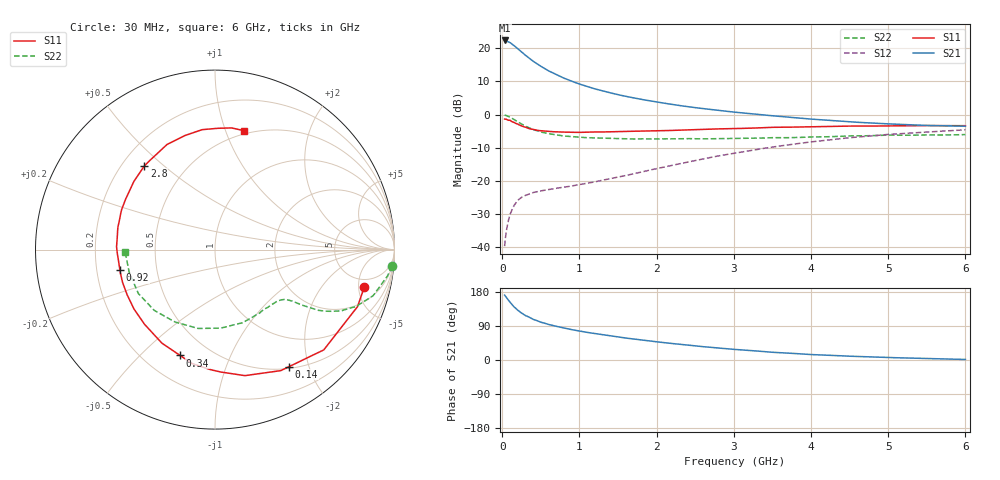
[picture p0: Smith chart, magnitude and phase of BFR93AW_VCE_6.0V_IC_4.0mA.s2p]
! Infineon Technologies  Discrete & RF Semiconductors
! BFR93AW
! VCE =  6.0 V,  IC =  4.0 mA
! Common Emitter S-Parameters:  Nov 2015
# GHz  S  MA  R  50
!  f  S11  S21  S12  S22
! GHz  MAG  ANG  MAG  ANG  MAG  ANG  MAG  ANG
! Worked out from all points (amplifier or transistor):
!   206 points, 30 MHz to 6 GHz, reference 50 ohm
!   highest |S21| = 22.4 dB at 30 MHz (marker M1)
!   |S21| within 3 dB of that: start of sweep to 225.9 MHz
!   unconditionally stable (mu >= 1): 1.012 GHz to 2.243 GHz
!   at 200 MHz: K = 0.26, MSG = 22.9 dB, |S12| = -25.8 dB
!   at 1.56 GHz: K = 1.10, MAG = 10.2 dB, |S12| = -18.5 dB
!   at 6 GHz: K = 0.94, MSG = 0.5 dB, |S12| = -4.6 dB
!   S11 on the Smith chart (normalised r, x): 30 MHz: 3.64, -5.79; 140 MHz: 0.53, -1.70; 340 MHz: 0.35, -0.66; 920 MHz: 0.30, -0.10; 2.8 GHz: 0.29, +0.43; 6 GHz: 0.47, +1.16
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0.03  0.8575 -14.2  13.14 171.3  0.0104 78.9  0.9909 -5.3
0.05  0.8553 -21.8  12.99 165.4  0.0169 78.4  0.9723 -8.7
0.1  0.8243 -42.7  12.25 152.3  0.0313 69.0  0.9174 -16.3
0.14  0.7717 -57.6  11.26 143.1  0.04 61.5  0.8604 -20.8
0.15  0.7673 -61.5  11.05 140.6  0.0422 60.1  0.847 -22.0
0.2  0.7219 -76.6  9.894 131.4  0.051 54.6  0.7796 -26.0
0.24  0.683 -87.2  8.996 125.2  0.0556 51.1  0.7299 -28.1
0.3  0.6475 -101.4  7.865 117.3  0.0606 47.3  0.6694 -30.4
0.34  0.6208 -108.3  7.245 113.8  0.0631 45.8  0.6398 -31.0
0.4  0.5993 -119.6  6.379 107.3  0.0669 43.7  0.5956 -32.1
0.5  0.572 -133.4  5.354 99.7  0.071 42.9  0.5469 -33.1
0.6  0.5597 -143.8  4.57 93.8  0.0741 43.1  0.5165 -33.7
0.7  0.5505 -152.7  4.002 88.8  0.0776 44.2  0.4945 -34.6
0.92  0.5419 -167.7  3.125 79.4  0.0849 48.5  0.4649 -37.0
1.04  0.5416 -174.3  2.795 75.0  0.09 51.0  0.4544 -38.8
1.5  0.5552 166.9  1.997 60.7  0.1141 60.2  0.4358 -47.7
2.02  0.5722 150.1  1.538 47.4  0.1547 66.0  0.4306 -60.3
2.8  0.6104 130.1  1.161 31.6  0.2386 66.7  0.4348 -81.0
3.1  0.62 123.1  1.065 26.7  0.2732 64.8  0.4379 -89.3
4.1  0.6591 103.0  0.841 13.6  0.3998 54.4  0.4614 -122.3
5.1  0.6769 87.5  0.718 6.0  0.5117 40.6  0.49 -153.2
6  0.6818 76.3  0.669 1.4  0.5898 28.7  0.5007 -178.6
